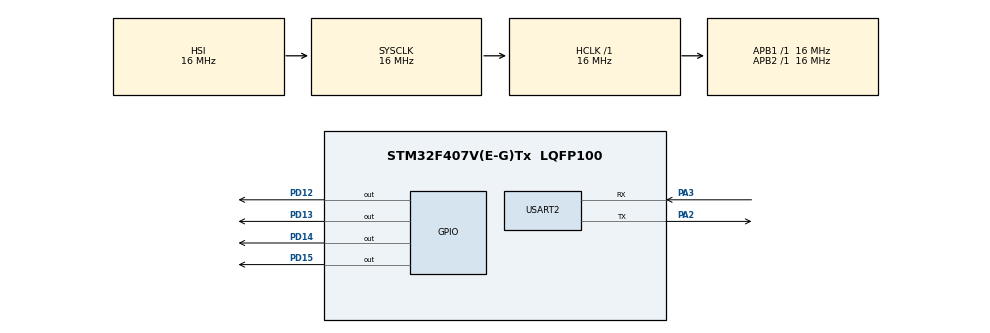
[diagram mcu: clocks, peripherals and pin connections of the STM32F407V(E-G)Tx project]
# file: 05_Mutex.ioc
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FREERTOS.Tasks01=defaultTask,24,128,StartDefaultTask,Default,NULL,Dynamic,NULL,NULL
FREERTOS.configUSE_NEWLIB_REENTRANT=1
Mcu.Family=STM32F4
Mcu.Name=STM32F407V(E-G)Tx
Mcu.Package=LQFP100
NVIC.PriorityGroup=NVIC_PRIORITYGROUP_4
NVIC.TIM1_UP_TIM10_IRQn=true\:15\:0\:false\:false\:true\:false\:false\:true\:true
NVIC.TimeBase=TIM1_UP_TIM10_IRQn
NVIC.TimeBaseIP=TIM1
PA2.Mode=Asynchronous
PA2.Signal=USART2_TX
PA3.Mode=Asynchronous
PA3.Signal=USART2_RX
PD12.Signal=GPIO_Output
PD13.Signal=GPIO_Output
PD14.Signal=GPIO_Output
PD15.Signal=GPIO_Output
ProjectManager.HeapSize=0x200
ProjectManager.StackSize=0x400
ProjectManager.TargetToolchain=STM32CubeIDE
RCC.AHBFreq_Value=16000000
RCC.APB1Freq_Value=16000000
RCC.APB2Freq_Value=16000000
RCC.CortexFreq_Value=16000000
RCC.HSE_VALUE=25000000
RCC.HSI_VALUE=16000000
RCC.LSE_VALUE=32768
RCC.SYSCLKFreq_VALUE=16000000
RCC.VCOOutputFreq_Value=192000000
USART2.VirtualMode=VM_ASYNC
VP_FREERTOS_VS_CMSIS_V2.Mode=CMSIS_V2
VP_SYS_VS_tim1.Mode=TIM1
board=custom

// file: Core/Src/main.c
/* USER CODE BEGIN Header */
/**
  ******************************************************************************
  * @file           : main.c
  * @brief          : Main program body
  ******************************************************************************
  * @attention
  *
  * Copyright (c) 2025 STMicroelectronics.
  * All rights reserved.
  *
  * This software is licensed under terms that can be found in the LICENSE file
  * in the root directory of this software component.
  * If no LICENSE file comes with this software, it is provided AS-IS.
  *
  ******************************************************************************
  */
/* USER CODE END Header */
#include "main.h"
#include "cmsis_os.h"
/* USER CODE BEGIN Includes */
#include "string.h"
#include <stdio.h>

/* USER CODE END Includes */

UART_HandleTypeDef huart2;

/* USER CODE BEGIN PV */
// Task Attributes
const osThreadAttr_t incrementTaskAttributes = {
    .name = "Increment_Task",
    .stack_size = 128 * 4,
    .priority = osPriorityNormal,
};

const osThreadAttr_t decrementTaskAttributes = {
    .name = "Decrement_Task",
    .stack_size = 128 * 4,
    .priority = osPriorityBelowNormal,
};

/* USER CODE END PV */

void SystemClock_Config(void);
static void MX_GPIO_Init(void);
static void MX_USART2_UART_Init(void);
void StartDefaultTask(void *argument);

/* USER CODE BEGIN PFP */
void Decrement_Task(void *argument);
void Increment_Task(void *argument);

/* USER CODE END PFP */

/* USER CODE BEGIN 0 */
int counter = 0;
osMutexId_t counterMutex;
const osMutexAttr_t counterMutexAttributes = {
    .name = "counterMutex"
};
/* USER CODE END 0 */

int main(void)
{

  /* MCU Configuration--------------------------------------------------------*/

  /* Reset of all peripherals, Initializes the Flash interface and the Systick. */
  HAL_Init();

  /* Configure the system clock */
  SystemClock_Config();

  /* Initialize all configured peripherals */
  MX_GPIO_Init();
  MX_USART2_UART_Init();

  /* Init scheduler */
  osKernelInitialize();

  /* Create the thread(s) */

  /* USER CODE BEGIN RTOS_THREADS */
  counterMutex = osMutexNew(&counterMutexAttributes);
  if (counterMutex == NULL)
  {
      Error_Handler();
  }
  // Task Creation
  osThreadNew(Increment_Task, NULL, &incrementTaskAttributes);
  osThreadNew(Decrement_Task, NULL, &decrementTaskAttributes);
  /* USER CODE END RTOS_THREADS */

  /* Start scheduler */
  osKernelStart();

  /* We should never get here as control is now taken by the scheduler */

  /* Infinite loop */
  while (1)
  {

  }
}

void SystemClock_Config(void)
{
  RCC_OscInitTypeDef RCC_OscInitStruct = {0};
  RCC_ClkInitTypeDef RCC_ClkInitStruct = {0};

  /** Configure the main internal regulator output voltage
  */
  __HAL_RCC_PWR_CLK_ENABLE();
  __HAL_PWR_VOLTAGESCALING_CONFIG(PWR_REGULATOR_VOLTAGE_SCALE1);

  /** Initializes the RCC Oscillators according to the specified parameters
  * in the RCC_OscInitTypeDef structure.
  */
  RCC_OscInitStruct.OscillatorType = RCC_OSCILLATORTYPE_HSI;
  RCC_OscInitStruct.HSIState = RCC_HSI_ON;
  RCC_OscInitStruct.HSICalibrationValue = RCC_HSICALIBRATION_DEFAULT;
  RCC_OscInitStruct.PLL.PLLState = RCC_PLL_NONE;
  if (HAL_RCC_OscConfig(&RCC_OscInitStruct) != HAL_OK)
  {
    Error_Handler();
  }

  /** Initializes the CPU, AHB and APB buses clocks
  */
  RCC_ClkInitStruct.ClockType = RCC_CLOCKTYPE_HCLK|RCC_CLOCKTYPE_SYSCLK
                              |RCC_CLOCKTYPE_PCLK1|RCC_CLOCKTYPE_PCLK2;
  RCC_ClkInitStruct.SYSCLKSource = RCC_SYSCLKSOURCE_HSI;
  RCC_ClkInitStruct.AHBCLKDivider = RCC_SYSCLK_DIV1;
  RCC_ClkInitStruct.APB1CLKDivider = RCC_HCLK_DIV1;
  RCC_ClkInitStruct.APB2CLKDivider = RCC_HCLK_DIV1;

  if (HAL_RCC_ClockConfig(&RCC_ClkInitStruct, FLASH_LATENCY_0) != HAL_OK)
  {
    Error_Handler();
  }
}

static void MX_USART2_UART_Init(void)
{

  huart2.Instance = USART2;
  huart2.Init.BaudRate = 115200;
  huart2.Init.WordLength = UART_WORDLENGTH_8B;
  huart2.Init.StopBits = UART_STOPBITS_1;
  huart2.Init.Parity = UART_PARITY_NONE;
  huart2.Init.Mode = UART_MODE_TX_RX;
  huart2.Init.HwFlowCtl = UART_HWCONTROL_NONE;
  huart2.Init.OverSampling = UART_OVERSAMPLING_16;
  if (HAL_UART_Init(&huart2) != HAL_OK)
  {
    Error_Handler();
  }

}

static void MX_GPIO_Init(void)
{
  GPIO_InitTypeDef GPIO_InitStruct = {0};

  /* GPIO Ports Clock Enable */
  __HAL_RCC_GPIOA_CLK_ENABLE();
  __HAL_RCC_GPIOD_CLK_ENABLE();

  /*Configure GPIO pin Output Level */
  HAL_GPIO_WritePin(GPIOD, GPIO_PIN_12|GPIO_PIN_13|GPIO_PIN_14|GPIO_PIN_15, GPIO_PIN_RESET);

  /*Configure GPIO pins : PD12 PD13 PD14 PD15 */
  GPIO_InitStruct.Pin = GPIO_PIN_12|GPIO_PIN_13|GPIO_PIN_14|GPIO_PIN_15;
  GPIO_InitStruct.Mode = GPIO_MODE_OUTPUT_PP;
  GPIO_InitStruct.Pull = GPIO_NOPULL;
  GPIO_InitStruct.Speed = GPIO_SPEED_FREQ_LOW;
  HAL_GPIO_Init(GPIOD, &GPIO_InitStruct);

}

/* USER CODE BEGIN 4 */
void Increment_Task(void *argument)
{
    while (1)
    {
        if (osMutexAcquire(counterMutex, osWaitForever) == osOK)
        {
            counter++;
        	char msg[10];
        	sprintf(msg, "%d", counter);
        	HAL_UART_Transmit(&huart2, (uint8_t *)msg, strlen(msg), HAL_MAX_DELAY);
            osMutexRelease(counterMutex);
            osDelay(500);
        }
    }
}

void Decrement_Task(void *argument)
{
    while (1)
    {
        if (osMutexAcquire(counterMutex, osWaitForever) == osOK)
        {
            counter--;
        	char msg[10];
        	sprintf(msg, "%d", counter);
        	HAL_UART_Transmit(&huart2, (uint8_t *)msg, strlen(msg), HAL_MAX_DELAY);
            osMutexRelease(counterMutex);
            osDelay(500);
        }
    }
}

/* USER CODE END 4 */

void StartDefaultTask(void *argument)
{
  for(;;)
  {
    osDelay(1);
  }
}

void HAL_TIM_PeriodElapsedCallback(TIM_HandleTypeDef *htim)
{
  if (htim->Instance == TIM1)
  {
    HAL_IncTick();
  }
}

void Error_Handler(void)
{
  __disable_irq();
  while (1)
  {
  }
}
